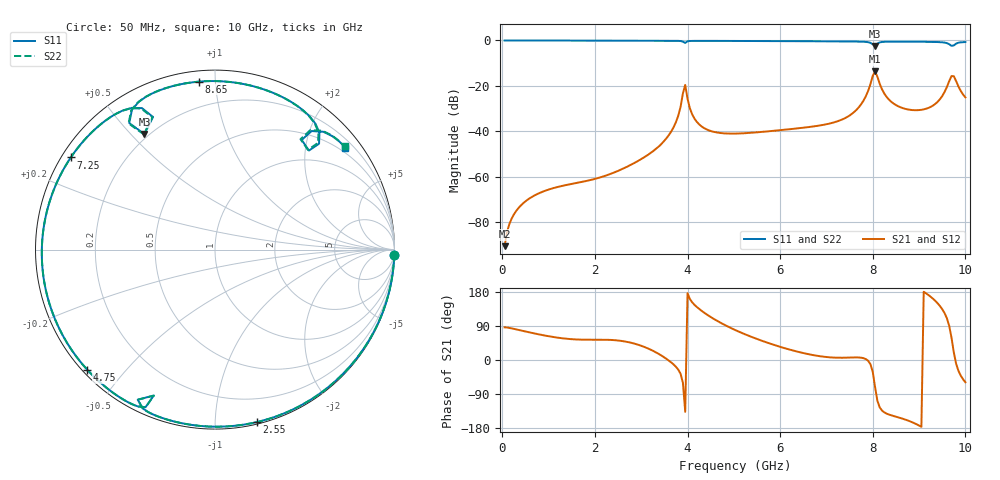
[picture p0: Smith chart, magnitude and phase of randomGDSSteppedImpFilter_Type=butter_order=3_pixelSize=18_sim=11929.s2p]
! freq	dB(S11)	phase(S11)	dB(S12)	phase(S12)
!  dB(S21)	phase(S21)	dB(S22)	phase(S22)
!S-par simulation data
#  GHz  S  DB  R 50
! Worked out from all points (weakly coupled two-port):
!   200 points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, 50 MHz to 10 GHz, reference 50 ohm
!   highest |S21| = -13.64 dB at 8.05 GHz (marker M1); lowest = -90.6 dB at 50 MHz (marker M2)
!   lowest |S11| = -2.4 dB at 8.05 GHz (marker M3), VSWR 7.15, Z = 9.14 + j27.3 ohm
!   |S11| at or under -10 dB: nowhere
!   |S22| runs from -2.4 to 0.0 dB; largest |S21 - S12| = 0
!   S11 on the Smith chart (normalised r, x): 50 MHz: 1, -73; 2.55 GHz: 0.01, -1.27; 4.75 GHz: 0.01, -0.40; 7.25 GHz: 0.03, +0.29; 8.65 GHz: 0.06, +0.91; 10 GHz: 0.37, +2.86
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0.05  -0.00 -1.6  -90.60 86.2  -90.60 86.2  -0.00 -1.6
0.7  -0.02 -21.6  -68.22 69.9  -68.22 69.9  -0.02 -21.6
1.75  -0.07 -53.2  -62.17 53.6  -62.17 53.6  -0.07 -53.2
2.55  -0.10 -76.4  -56.98 50.7  -56.98 50.7  -0.10 -76.4
3.4  -0.13 -100.4  -46.31 14.5  -46.31 14.5  -0.13 -100.4
3.75  -0.17 -110.7  -35.95 -18.0  -35.95 -18.0  -0.17 -110.7
3.95  -1.09 -112.8  -19.57 -136.8  -19.57 -136.8  -1.09 -112.7
4.05  -0.23 -116.1  -29.84 161.1  -29.84 161.1  -0.23 -116.1
4.2  -0.18 -121.2  -35.84 139.9  -35.84 139.9  -0.18 -121.1
4.75  -0.20 -136.8  -40.84 95.9  -40.84 95.9  -0.20 -136.7
5.05  -0.22 -145.1  -41.01 77.9  -41.01 77.9  -0.22 -145.1
6.7  -0.35 166.0  -37.93 13.2  -37.93 13.2  -0.35 166.1
7.25  -0.41 147.4  -35.53 6.0  -35.53 6.0  -0.41 147.6
7.75  -0.54 128.0  -28.06 6.0  -28.06 6.0  -0.54 128.3
7.95  -1.04 117.3  -19.18 -11.2  -19.18 -11.2  -1.04 117.6
8.05  -2.45 121.4  -13.64 -71.7  -13.64 -71.7  -2.44 121.7
8.35  -0.54 109.3  -26.06 -144.0  -26.06 -144.0  -0.54 109.7
8.65  -0.54 95.6  -29.82 -155.1  -29.82 -155.1  -0.54 96.0
9.3  -0.65 65.2  -28.68 161.7  -28.68 161.7  -0.65 65.7
9.5  -0.82 54.5  -24.48 134.1  -24.48 134.1  -0.82 54.9
9.7  -2.38 46.5  -15.70 58.9  -15.70 58.9  -2.39 47.0
10  -0.70 38.0  -25.08 -58.8  -25.08 -58.8  -0.70 38.5
